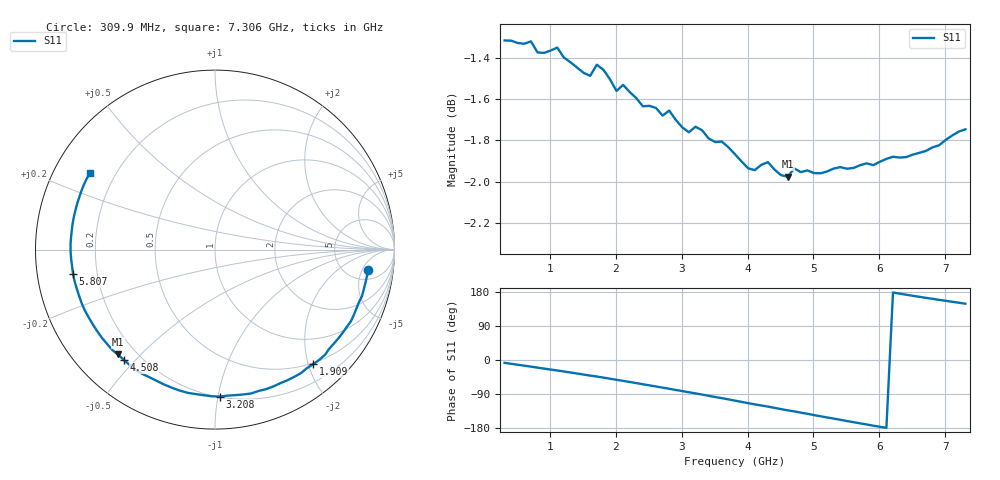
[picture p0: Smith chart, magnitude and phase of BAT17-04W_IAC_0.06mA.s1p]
! Infineon Technologies  Discrete & RF Semiconductors
! BAT17-04W
! IAC = 0.06 mA
! One-Port S-Parameters
# Hz  S  MA  R  50
!f  S11
!Hz  Mag  Ang
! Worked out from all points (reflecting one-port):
!   71 points, 309.9 MHz to 7.306 GHz, reference 50 ohm
!   lowest |S11| = -2.0 dB at 4.608 GHz (marker M1), VSWR 8.83, Z = 6.73 - j21.5 ohm
!   phase of S11 starts at -8 deg and turns -204 deg over the sweep
!   S11 on the Smith chart (normalised r, x): 309.9 MHz: 7.51, -6.53; 1.909 GHz: 0.48, -2.09; 3.208 GHz: 0.20, -1.01; 4.508 GHz: 0.14, -0.46; 5.807 GHz: 0.11, -0.09; 7.306 GHz: 0.11, +0.28
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3.0985e8  0.8596 -7.6
7.0965e8  0.8591 -17.5
1.10945e9  0.8562 -27.7
1.2094e9  0.8514 -30.3
1.70915e9  0.848 -43.6
1.90905e9  0.8411 -49.3
2.10895e9  0.8385 -55.0
2.30885e9  0.8323 -60.9
2.6087e9  0.8277 -69.9
2.8086e9  0.8265 -75.9
3.0085e9  0.8188 -82.1
3.2084e9  0.8191 -88.1
3.6082e9  0.8123 -100.7
3.8081e9  0.8065 -107.2
4.10795e9  0.7994 -117.1
4.30785e9  0.803 -122.9
4.50775e9  0.7972 -129.6
4.6077e9  0.7964 -132.8
4.70765e9  0.8002 -135.6
5.0075e9  0.7981 -145.3
5.2074e9  0.7988 -151.6
5.4073e9  0.8008 -157.8
5.6072e9  0.8004 -164.1
5.8071e9  0.8024 -170.1
6.2069e9  0.8054 178.1
6.50675e9  0.8064 169.5
7.0065e9  0.813 156.2
7.30635e9  0.8179 148.5
